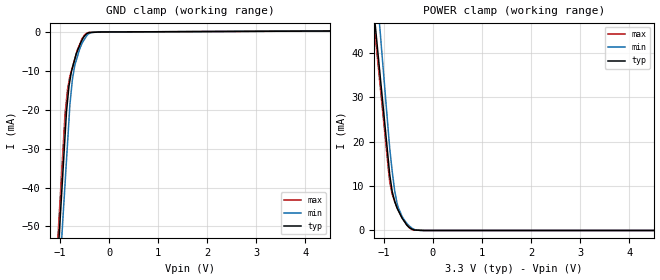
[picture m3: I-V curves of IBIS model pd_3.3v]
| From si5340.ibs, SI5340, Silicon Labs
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[Model] pd_3.3v
Model_type Input
Vinl = 990.000mV
Vinh = 2.31000V
C_comp 576.000fF 573.000fF 579.000fF
| variable typ   min   max
[Voltage Range] 3.30000V 3.13500V 3.46500V
[POWER Clamp Reference] 3.30000V 3.13500V 3.46500V
[GND Clamp Reference] 0.00000V 0.00000V 0.00000V
[Temperature Range]   25   85   -40
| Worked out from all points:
|   GND clamp passes 1 mA (typ) near -0.50 V on its own axis
|   POWER clamp passes 1 mA (typ) near -0.51 V on its own axis
[GND Clamp]
-3.3V     -540.6mA   -532.7mA   -546mA
-900mV    -26.93mA   -39.27mA   -21.2mA
-870mV    -20.51mA   -33.1mA    -17.42mA
-850mV    -17.91mA   -28.99mA   -14.9mA
-820mV    -14mA      -22.82mA   -12.75mA
-800mV    -12.49mA   -18.71mA   -11.32mA
-750mV    -9.306mA   -12.28mA   -9.111mA
-700mV    -6.98mA    -8.54mA    -6.906mA
-600mV    -3.399mA   -4.356mA   -3.185mA
-450mV    -422.7uA   -815.1uA   -255.8uA
-175mV    -17.43uA   -15.75uA   -19.2uA
6.6V      352.1uA    360.7uA    352.5uA
[POWER Clamp]
-3.3V     288.2mA    344.8mA    282.3mA
-1.05V    31.93mA    41.35mA    29.72mA
-900mV    14.84mA    21.12mA    12.88mA
-880mV    12.56mA    18.42mA    10.91mA
-830mV    8.78mA     13.36mA    8.176mA
-780mV    6.557mA    9.005mA    6.593mA
-730mV    5.054mA    6.076mA    5.058mA
-630mV    2.822mA    3.209mA    2.894mA
-530mV    1.201mA    1.562mA    1.18mA
-430mV    305.8uA    537.5uA    238.7uA
-200mV    5.247uA    0A         23.29uA
6.6V      0A         0A         0A
